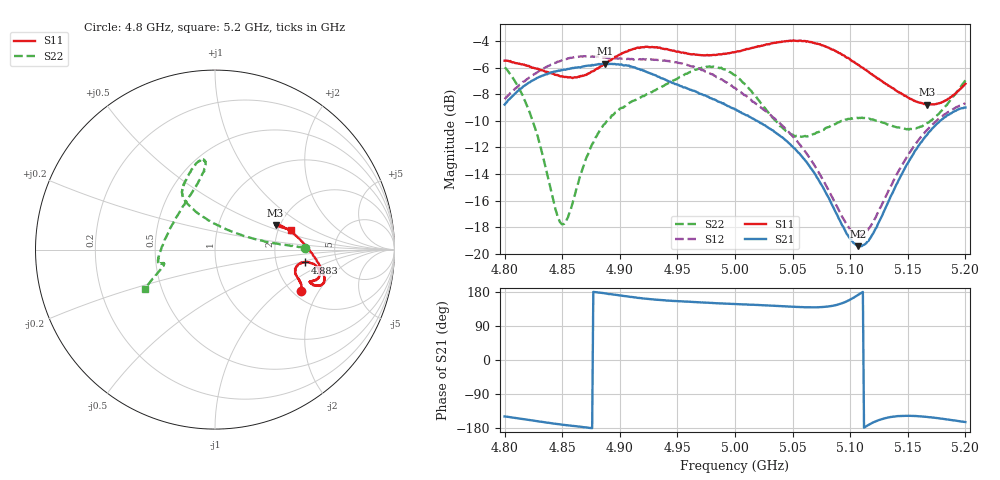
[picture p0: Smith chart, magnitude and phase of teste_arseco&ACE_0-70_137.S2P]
! Network Analyzer HP8722D
! Hewlett-Packard
! Data name: Linha & Wilkinson
! Saver's name: Rodrigo Anjos
! Comments: Teste da utilização de aquisição
! continua pelo VNA HP8722D
! Time and date: 8/5/2025 13:54
!  Frequency  S11  S21  S12  S22
# HZ  S  MA R 50
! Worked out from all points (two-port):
!   401 points, 4.8 GHz to 5.2 GHz, reference 50 ohm
!   highest |S21| = -5.68 dB at 4.887 GHz (marker M1); lowest = -19.4 dB at 5.107 GHz (marker M2)
!   |S21| within 3 dB of the highest: 4.801 GHz to 4.99 GHz (189.3 MHz wide, 3.87 % of centre)
!   lowest |S11| = -8.8 dB at 5.167 GHz (marker M3), VSWR 2.15, Z = 94.7 + j30.1 ohm
!   |S11| at or under -10 dB: nowhere
!   |S22| runs from -17.8 to -5.9 dB; largest |S21 - S12| = 1.1
!   S11 on the Smith chart (normalised r, x): 4.8 GHz: 2.23, -1.42; 4.883 GHz: 2.93, -0.57; 5.2 GHz: 2.34, +0.64
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4.8e9  0.5329 -25.4  0.3644 -149.0  0.382 10.4  0.5021 1.3
4.812e9  0.5201 -22.2  0.4114 -153.9  0.4274 8.7  0.4231 2.7
4.823e9  0.5044 -20.5  0.4457 -158.9  0.4651 7.0  0.3281 6.3
4.848e9  0.4658 -16.5  0.4881 -169.7  0.5309 3.3  0.1318 54.3
4.855e9  0.4607 -14.6  0.4963 -172.5  0.5435 1.9  0.1372 84.8
4.867e9  0.4662 -10.9  0.5054 -176.7  0.5526 0.3  0.2051 112.3
4.883e9  0.5067 -8.1  0.5163 177.3  0.55 -1.1  0.2929 120.7
4.887e9  0.5188 -7.6  0.5197 175.9  0.5487 -1.0  0.3081 121.3
4.913e9  0.5907 -11.0  0.5028 165.1  0.5407 -0.7  0.3781 118.7
4.934e9  0.5967 -15.6  0.4632 158.4  0.5372 -1.4  0.4192 112.8
4.974e9  0.5579 -18.8  0.3949 151.5  0.485 -5.4  0.5015 99.4
5e9  0.5738 -19.5  0.3496 147.8  0.4207 -5.3  0.4701 96.7
5.018e9  0.5997 -19.5  0.3176 145.5  0.3674 -2.6  0.3913 103.5
5.045e9  0.6318 -17.6  0.2652 141.3  0.2922 3.1  0.2883 132.7
5.067e9  0.6241 -13.5  0.2069 138.9  0.222 9.3  0.2807 164.9
5.097e9  0.5469 -3.3  0.1188 154.8  0.1292 35.5  0.3197 -170.7
5.107e9  0.5137 1.4  0.1068 172.1  0.1171 54.7  0.3239 -167.8
5.118e9  0.4755 6.9  0.1156 -167.8  0.1278 76.4  0.3201 -166.2
5.134e9  0.4276 14.5  0.16 -151.1  0.1751 94.6  0.3055 -165.7
5.167e9  0.3645 22.2  0.2814 -150.3  0.2932 102.4  0.3107 -161.4
5.182e9  0.3764 20.4  0.3265 -155.9  0.3349 102.6  0.3566 -156.8
5.2e9  0.4361 14.8  0.355 -163.7  0.3684 102.8  0.4493 -150.5
